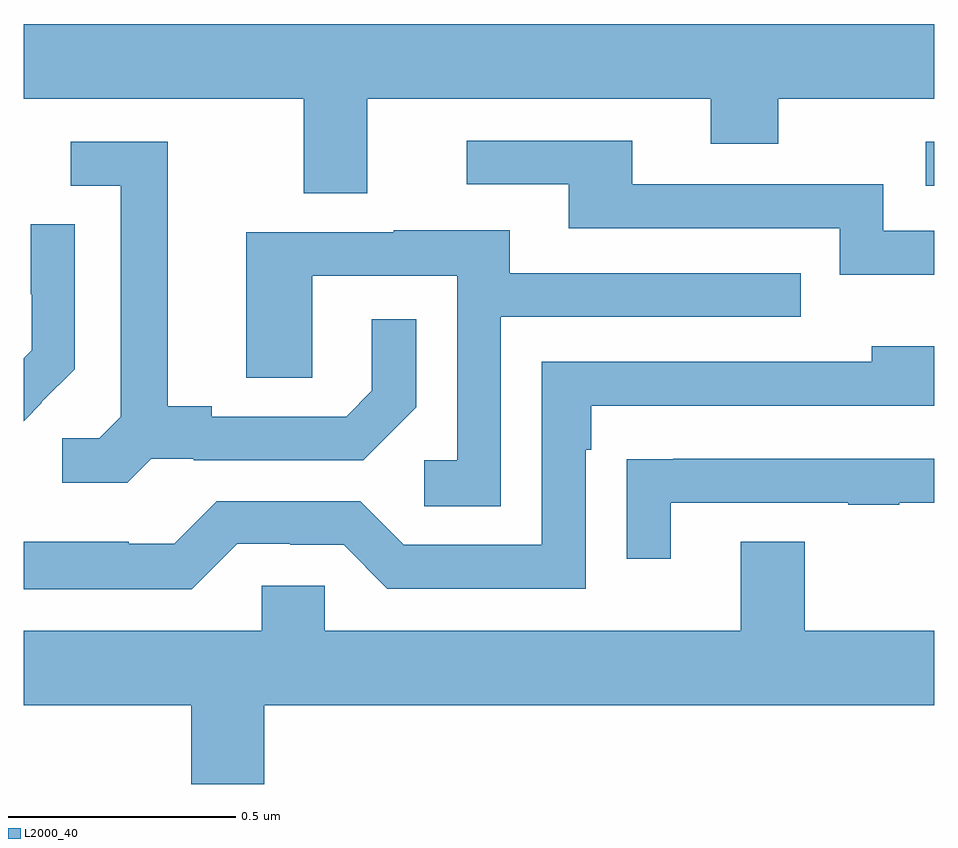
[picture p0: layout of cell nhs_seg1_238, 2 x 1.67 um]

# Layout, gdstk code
import gdstk
lib = gdstk.Library(unit=1e-6, precision=1e-09)
def R(c, l, rs):  # rectangles x0, y0, x1, y1
    for r in rs: c.add(gdstk.rectangle(r[:2], r[2:], *l))
def P(c, l, *ps):  # polygons
    for p in ps: c.add(gdstk.Polygon(p, *l))
L2000_40 = (2000, 40)

nhs_seg1_238 = lib.new_cell('nhs_seg1_238')
R(nhs_seg1_238, L2000_40, [(114.981,579.513,115,579.609)])
P(nhs_seg1_238, L2000_40, [(113.755,579.704),(114.509,579.704),(114.509,579.605),(114.657,579.605),(114.657,579.704),(115,579.704),(115,579.868),(113,579.868),(113,579.704),(113.615,579.704),(113.615,579.496),(113.755,579.496)],
  [(115,579.414),(114.888,579.414),(114.888,579.516),(114.337,579.516),(114.337,579.612),(113.973,579.612),(113.973,579.516),(114.197,579.516),(114.197,579.42),(114.792,579.42),(114.792,579.317),(115,579.317)],
  [(113.28,578.913),(113.374,578.913),(113.374,578.91),(113.746,578.91),(113.862,579.026),(113.862,579.22),(113.765,579.22),(113.765,579.063),(113.708,579.006),(113.413,579.006),(113.413,579.029),(113.317,579.029),(113.317,579.609),(113.103,579.609),(113.103,579.513),(113.213,579.513),(113.213,579.005),(113.166,578.958),(113.085,578.958),(113.085,578.861),(113.228,578.861)],
  [(113.04,579.036),(113.039,579.037),(113.112,579.11),(113.112,579.428),(113.016,579.428),(113.016,579.274),(113.018,579.274),(113.018,579.152),(113,579.134),(113,578.996)],
  [(114.048,579.225),(114.707,579.225),(114.707,579.321),(114.067,579.321),(114.067,579.415),(113.813,579.415),(113.813,579.411),(113.489,579.411),(113.489,579.091),(113.634,579.091),(113.634,579.315),(113.952,579.315),(113.952,578.91),(113.88,578.91),(113.88,578.809),(114.048,578.809)],
  [(113.469,578.727),(113.585,578.727),(113.585,578.724),(113.703,578.724),(113.799,578.628),(114.234,578.628),(114.234,578.933),(114.247,578.933),(114.247,579.03),(115,579.03),(115,579.16),(114.863,579.16),(114.863,579.126),(114.138,579.126),(114.138,578.724),(113.835,578.724),(113.739,578.82),(113.424,578.82),(113.331,578.727),(113.231,578.727),(113.231,578.731),(113,578.731),(113,578.627),(113.369,578.627)],
  [(114.421,578.817),(114.811,578.817),(114.811,578.812),(114.923,578.812),(114.923,578.817),(115,578.817),(115,578.913),(114.427,578.913),(114.427,578.912),(114.325,578.912),(114.325,578.694),(114.421,578.694)],
  [(113.528,578.372),(115,578.372),(115,578.536),(114.715,578.536),(114.715,578.731),(114.575,578.731),(114.575,578.536),(113.661,578.536),(113.661,578.634),(113.523,578.634),(113.523,578.536),(113,578.536),(113,578.372),(113.368,578.372),(113.368,578.199),(113.528,578.199)])

lib.write_gds('nhs_seg1_238.gds')
